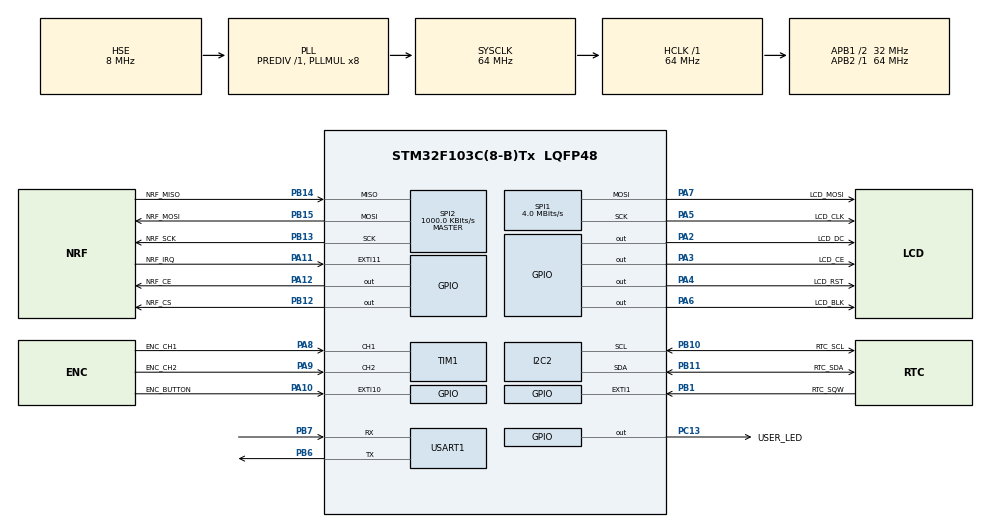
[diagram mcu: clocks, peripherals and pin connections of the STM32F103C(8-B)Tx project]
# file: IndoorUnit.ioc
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Dma.I2C2_RX.1.Direction=DMA_PERIPH_TO_MEMORY
Dma.I2C2_RX.1.Instance=DMA1_Channel5
Dma.I2C2_RX.1.MemDataAlignment=DMA_MDATAALIGN_BYTE
Dma.I2C2_RX.1.MemInc=DMA_MINC_ENABLE
Dma.I2C2_RX.1.Mode=DMA_NORMAL
Dma.I2C2_RX.1.PeriphDataAlignment=DMA_PDATAALIGN_BYTE
Dma.I2C2_RX.1.PeriphInc=DMA_PINC_DISABLE
Dma.I2C2_RX.1.Priority=DMA_PRIORITY_LOW
Dma.I2C2_TX.2.Direction=DMA_MEMORY_TO_PERIPH
Dma.I2C2_TX.2.Instance=DMA1_Channel4
Dma.I2C2_TX.2.MemDataAlignment=DMA_MDATAALIGN_BYTE
Dma.I2C2_TX.2.MemInc=DMA_MINC_ENABLE
Dma.I2C2_TX.2.Mode=DMA_NORMAL
Dma.I2C2_TX.2.PeriphDataAlignment=DMA_PDATAALIGN_BYTE
Dma.I2C2_TX.2.PeriphInc=DMA_PINC_DISABLE
Dma.I2C2_TX.2.Priority=DMA_PRIORITY_LOW
Dma.Request0=SPI1_TX
Dma.Request1=I2C2_RX
Dma.Request2=I2C2_TX
Dma.SPI1_TX.0.Direction=DMA_MEMORY_TO_PERIPH
Dma.SPI1_TX.0.Instance=DMA1_Channel3
Dma.SPI1_TX.0.MemDataAlignment=DMA_MDATAALIGN_BYTE
Dma.SPI1_TX.0.MemInc=DMA_MINC_ENABLE
Dma.SPI1_TX.0.Mode=DMA_NORMAL
Dma.SPI1_TX.0.PeriphDataAlignment=DMA_PDATAALIGN_BYTE
Dma.SPI1_TX.0.PeriphInc=DMA_PINC_DISABLE
Dma.SPI1_TX.0.Priority=DMA_PRIORITY_LOW
I2C2.I2C_Mode=I2C_Fast
Mcu.Family=STM32F1
Mcu.Name=STM32F103C(8-B)Tx
Mcu.Package=LQFP48
NVIC.DMA1_Channel3_IRQn=true\:0\:0\:false\:false\:true\:false\:true\:true
NVIC.DMA1_Channel4_IRQn=true\:0\:0\:false\:false\:true\:false\:true\:true
NVIC.DMA1_Channel5_IRQn=true\:0\:0\:false\:false\:true\:false\:true\:true
NVIC.EXTI15_10_IRQn=true\:0\:0\:false\:false\:true\:true\:true\:true
NVIC.EXTI1_IRQn=true\:0\:0\:false\:false\:true\:true\:true\:true
NVIC.I2C2_ER_IRQn=true\:0\:0\:false\:false\:true\:true\:true\:true
NVIC.I2C2_EV_IRQn=true\:0\:0\:false\:false\:true\:true\:true\:true
NVIC.PriorityGroup=NVIC_PRIORITYGROUP_4
NVIC.SPI1_IRQn=true\:0\:0\:false\:false\:true\:true\:true\:true
NVIC.SPI2_IRQn=true\:0\:0\:false\:false\:true\:true\:true\:true
NVIC.TIM1_CC_IRQn=true\:0\:0\:false\:false\:true\:true\:true\:true
NVIC.USART1_IRQn=true\:0\:0\:false\:false\:true\:true\:true\:true
PA10.GPIO_Label=ENC_BUTTON
PA10.GPIO_ModeDefaultEXTI=GPIO_MODE_IT_FALLING
PA10.Signal=GPXTI10
PA11.GPIO_Label=NRF_IRQ
PA11.Signal=GPXTI11
PA12.GPIO_Label=NRF_CE
PA12.Signal=GPIO_Output
PA13.Mode=Serial_Wire
PA13.Signal=SYS_JTMS-SWDIO
PA14.Mode=Serial_Wire
PA14.Signal=SYS_JTCK-SWCLK
PA2.GPIO_Label=LCD_DC
PA2.Signal=GPIO_Output
PA3.GPIO_Label=LCD_CE
PA3.Signal=GPIO_Output
PA4.GPIO_Label=LCD_RST
PA4.Signal=GPIO_Output
PA5.GPIO_Label=LCD_CLK
PA5.Mode=TX_Only_Simplex_Unidirect_Master
PA5.Signal=SPI1_SCK
PA6.GPIO_Label=LCD_BLK
PA6.Signal=GPIO_Output
PA7.GPIO_Label=LCD_MOSI
PA7.Mode=TX_Only_Simplex_Unidirect_Master
PA7.Signal=SPI1_MOSI
PA8.GPIO_Label=ENC_CH1
PA8.Signal=S_TIM1_CH1
PA9.GPIO_Label=ENC_CH2
PA9.Signal=S_TIM1_CH2
PB1.GPIO_Label=RTC_SQW
PB1.GPIO_ModeDefaultEXTI=GPIO_MODE_IT_FALLING
PB1.GPIO_PuPd=GPIO_PULLUP
PB1.Signal=GPXTI1
PB10.GPIO_Label=RTC_SCL
PB10.Mode=I2C
PB10.Signal=I2C2_SCL
PB11.GPIO_Label=RTC_SDA
PB11.Mode=I2C
PB11.Signal=I2C2_SDA
PB12.GPIO_Label=NRF_CS
PB12.Signal=GPIO_Output
PB13.GPIO_Label=NRF_SCK
PB13.Mode=Full_Duplex_Master
PB13.Signal=SPI2_SCK
PB14.GPIO_Label=NRF_MISO
PB14.Mode=Full_Duplex_Master
PB14.Signal=SPI2_MISO
PB15.GPIO_Label=NRF_MOSI
PB15.Mode=Full_Duplex_Master
PB15.Signal=SPI2_MOSI
PB6.Mode=Asynchronous
PB6.Signal=USART1_TX
PB7.Mode=Asynchronous
PB7.Signal=USART1_RX
PC13-TAMPER-RTC.GPIO_Label=USER_LED
PC13-TAMPER-RTC.Signal=GPIO_Output
PD0-OSC_IN.Mode=HSE-External-Oscillator
PD0-OSC_IN.Signal=RCC_OSC_IN
PD1-OSC_OUT.Mode=HSE-External-Oscillator
PD1-OSC_OUT.Signal=RCC_OSC_OUT
ProjectManager.HeapSize=0x200
ProjectManager.StackSize=0x400
ProjectManager.TargetToolchain=CMake
RCC.AHBFreq_Value=64000000
RCC.APB1CLKDivider=RCC_HCLK_DIV2
RCC.APB1Freq_Value=32000000
RCC.APB1TimFreq_Value=64000000
RCC.APB2Freq_Value=64000000
RCC.APB2TimFreq_Value=64000000
RCC.HCLKFreq_Value=64000000
RCC.PLLMUL=RCC_PLL_MUL8
RCC.PLLSourceVirtual=RCC_PLLSOURCE_HSE
RCC.SYSCLKFreq_VALUE=64000000
RCC.SYSCLKSource=RCC_SYSCLKSOURCE_PLLCLK
RCC.USBFreq_Value=64000000
SH.S_TIM1_CH1.0=TIM1_CH1,Encoder_Interface
SH.S_TIM1_CH2.0=TIM1_CH2,Encoder_Interface
SPI1.BaudRatePrescaler=SPI_BAUDRATEPRESCALER_16
SPI1.CalculateBaudRate=4.0 MBits/s
SPI1.Direction=SPI_DIRECTION_2LINES
SPI1.Mode=SPI_MODE_MASTER
SPI1.VirtualType=VM_MASTER
SPI2.BaudRatePrescaler=SPI_BAUDRATEPRESCALER_32
SPI2.CalculateBaudRate=1000.0 KBits/s
SPI2.Direction=SPI_DIRECTION_2LINES
SPI2.Mode=SPI_MODE_MASTER
SPI2.VirtualType=VM_MASTER
TIM1.AutoReloadPreload=TIM_AUTORELOAD_PRELOAD_ENABLE
TIM1.IC1Filter=15
TIM1.IC2Filter=15
USART1.VirtualMode=VM_ASYNC
VP_WWDG_VS_WWDG.Mode=WWDG_Activate
board=custom

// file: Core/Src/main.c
/* USER CODE BEGIN Header */
/**
  ******************************************************************************
  * @file           : main.c
  * @brief          : Main program body
  ******************************************************************************
  * @attention
  *
  * Copyright (c) 2026 STMicroelectronics.
  * All rights reserved.
  *
  * This software is licensed under terms that can be found in the LICENSE file
  * in the root directory of this software component.
  * If no LICENSE file comes with this software, it is provided AS-IS.
  *
  ******************************************************************************
  */
/* USER CODE END Header */
#include "main.h"
#include "dma.h"
#include "i2c.h"
#include "spi.h"
#include "tim.h"
#include "usart.h"
#include "wwdg.h"
#include "gpio.h"

/* USER CODE BEGIN Includes */
#include <PCD_LCD/PCD8544.h>
#include <PCD_LCD/PCD8544_fonts.h>
#include <PCD_LCD/PCD8544_Menu.h>
#include <PCD_LCD/PCD8544_Menu_config.h>
#include <PCD_LCD/PCD8544_Drawing.h>

#include <complex.h>
#include <stdbool.h>
#include <stdint.h>
#include <stdio.h>
#include <string.h>
#include <sys/_types.h>

#include "weather_station_config.h"
#include "debug_log.h"
#include "uart_cmd.h"
/* USER CODE END Includes */

void SystemClock_Config(void);
/* USER CODE BEGIN PFP */

void EncoderButtonPress(void);
static void NRF_DelayUs(uint32_t us);
void RTC_alarm1(void);
void RTC_alarm2(void);
static bool RTC_IsManualSetRequestedAtBoot(void);
void Menu_EscapeWraper (void);

/* USER CODE END PFP */

int main(void)
{

  /* MCU Configuration--------------------------------------------------------*/

  /* Reset of all peripherals, Initializes the Flash interface and the Systick. */

  HAL_Init();

  /* Configure the system clock */
  SystemClock_Config();

  /* Initialize all configured peripherals */
  MX_GPIO_Init();
  MX_DMA_Init();
  MX_SPI1_Init();
  MX_I2C2_Init();
  MX_TIM1_Init();
  MX_SPI2_Init();
  MX_USART1_UART_Init();
  /* USER CODE BEGIN 2 */
  bool rtcManualSetRequested = RTC_IsManualSetRequestedAtBoot();

  /*            Initialize encoder        */
  Encoder_Init(&encoder, &htim1, TIM_CHANNEL_1, TIM_CHANNEL_2);

  /*             Initialize debounce button        */
  ButtonInitKey(&encoderSW, ENC_BUTTON_GPIO_Port, ENC_BUTTON_Pin, 50, 1000, 500, BUTTON_MODE_INTERRUPT);
  ButtonRegisterPressCallback(&encoderSW, EncoderButtonPress);

  /*            Initialize LCD           */
  if(PCD8544_Init(&LCD, &hspi1, LCD_DC_GPIO_Port, LCD_DC_Pin, LCD_CE_GPIO_Port, LCD_CE_Pin, LCD_RST_GPIO_Port, LCD_RST_Pin, LCD_BLK_GPIO_Port, LCD_BLK_Pin) != PCD_OK) {
    Error_Handler();
  }
  else {
  {
    PCD8544_ClearScreen(&LCD);
  }
  }

  /*            Initialize RTC        */
  if (DS3231_Init(&rtc, &hi2c2, RTC_SQW_GPIO_Port, RTC_SQW_Pin, DS3231_I2C_ADDR, DS3231_FORMAT_24H) != DS3231_OK) {
    Error_Handler();
  }

  if (DS3231_GetOscillatorStopFlag(&rtc) != DS3231_OK) {
    Error_Handler();
  }

  if (rtcManualSetRequested || rtc.oscilator_stopped)
  {
    /* Set time once on manual request or after oscillator stop (OSF=1). */
    if (DS3231_SetDateTime(&rtc, &currentDateTime) != DS3231_OK) {
      Error_Handler();
    }

    if (DS3231_ClearOscillatorStopFlag(&rtc) != DS3231_OK) {
      Error_Handler();
    }

    rtcNow = currentDateTime;
  } else {
    if (DS3231_GetDateTime(&rtc, &rtcNow) != DS3231_OK) {
      Error_Handler();
    }
  }

  DS3231_SetAlarm1(&rtc, &RTCalarm1);
  DS3231_SetAlarm2(&rtc, &RTCalarm2);
  DS3231_EnableAlarm1Interrupt(&rtc);
  DS3231_EnableAlarm2Interrupt(&rtc);

  /* Initialize menu system with predefined configuration */
  Menu_Init(&StronaDomyslna, &menuContext);
  // Set font for menu display
  PCD8544_SetFont(&LCD, &Font_6x8);
  // Display initial menu and then show default measurement screen
  Menu_RefreshDisplay(&LCD, &menuContext);

  /* Initialize charts */
  WS_UI_InitCharts();

  /* ---------------------------------------------------------------
   * NRF24L01 Weather Station Initialization
   * --------------------------------------------------------------- */

  /* 1. Initialize nRF24L01 driver handle. */
  if (NRF24_Init(&nrf, &hspi2, NRF_CS_GPIO_Port, NRF_CS_Pin, NRF_CE_GPIO_Port, NRF_CE_Pin, NRF_IRQ_GPIO_Port, NRF_IRQ_Pin, NRF_DelayUs) != HAL_OK)
  {
    PCD8544_SetFont(&LCD, &Font_6x8);
    PCD8544_SetCursor(&LCD, 0, 0);
    PCD8544_WriteString(&LCD, "NRF FAIL");
    PCD8544_UpdateScreen(&LCD);
    Error_Handler();
  }

  if (NRF24_IsPresent(&nrf) != HAL_OK)
  {
    PCD8544_SetFont(&LCD, &Font_6x8);
    PCD8544_SetCursor(&LCD, 0, 0);
    PCD8544_WriteString(&LCD, "NRF MISS");
    PCD8544_UpdateScreen(&LCD);
    Error_Handler();
  }

  WS_InitManager(&wsCtx, WS_NODE_TX_ADDRS, WS_NODE_RX_ADDRS, WS_NODE_COUNT);

  /*  Initialize Weather Station Runtime struct   */
  wsRuntime.nrf = &nrf;
  wsRuntime.lcd = &LCD;
  wsRuntime.rtc_now = &rtcNow;
  wsRuntime.text_buffer = g_nrf_message;
  wsRuntime.text_buffer_size = sizeof(g_nrf_message);
  wsRuntime.led_port = USER_LED_GPIO_Port;
  wsRuntime.led_pin = USER_LED_Pin;
  wsRuntime.channel = NRF_CHANNEL;
  wsRuntime.cmd_measure = CMD_MEASURE;
  wsRuntime.cmd_size = NRF_CMD_SIZE;
  wsRuntime.payload_size = NRF_PAYLOAD_SIZE;
  wsRuntime.tx_irq_timeout_ms = NRF_TX_IRQ_TIMEOUT_MS;
  wsRuntime.rx_timeout_ms = NRF_RX_TIMEOUT_MS;
  wsRuntime.comm_watchdog_timeout_ms = NRF_COMM_WATCHDOG_TIMEOUT_MS;
  wsRuntime.huart_pico = &huart1;
  wsRuntime.broadcast_addr = NRF_BROADCAST_ADDR;

  /*  If NRF24L01 initialization fails, display error on LCD , go to error handler*/
  if (WS_InitRadioAndStart(&wsCtx, &wsRuntime) != HAL_OK) {
    PCD8544_SetFont(&LCD, &Font_6x8);
    PCD8544_SetCursor(&LCD, 0, 0);
    PCD8544_WriteString(&LCD, "WS INIT ERR");
    PCD8544_UpdateScreen(&LCD);
    Error_Handler();
  }

  /* Initialize UI context for weather station display functions */
  WS_UI_Init(&WS_UI, &wsCtx, &wsRuntime, &LCD, &menuContext, &encoder, &rtcNow, g_nrf_message, sizeof(g_nrf_message), &rtc);

  /* Initialize debug logging system */
  Debug_Init();

  UartCmd_Init(&huart1, &wsCtx);

  /* Force initial measurement display render (show time + placeholders) */
  WS_UI.chart_data_dirty = 1U;

  /*  Initial measurement request */
  WS_RequestMeasurementCycle(&wsCtx);

  /* Start WWDG only after long boot-time initialization is complete. */
  MX_WWDG_Init();
  uint32_t wwdg_last_refresh_tick = HAL_GetTick();

  /* USER CODE END 2 */

  /* Infinite loop */
  while (1)
  {

    /* USER CODE BEGIN 3 */

    uint32_t now_tick = HAL_GetTick();

    /* Flush buffered UART reply first so ACK reaches Pico before NRF logs. */
    UartCmd_FlushReply();

    /*  Process with NRF24  */
    WS_ProcessEventHandler(&wsCtx, &wsRuntime, now_tick);

    /*    Process with RTC event     */
    DS3231_EventHandler(&rtc, &rtcNow, RTC_alarm1, RTC_alarm2);

    /*    Process with button event routine    */
    ButtonTask(&encoderSW);

    /* View state machine handles chart, status, measurement and menu views */
    WS_UI_ViewTask();

    /* Keep WWDG alive only while communication watchdog is healthy. */
    uint32_t wwdg_now_tick = HAL_GetTick();
    if ((wsCtx.comm_watchdog_tripped == 0U) && ((wwdg_now_tick - wwdg_last_refresh_tick) >= WWDG_REFRESH_PERIOD_MS))
    {
      HAL_WWDG_Refresh(&hwwdg);
      wwdg_last_refresh_tick = wwdg_now_tick;
    }

    /* Debug heartbeat - logs every minute to detect program hangs */
    #ifdef DEBUG_LOG_HEARTBEAT
        Debug_Heartbeat();
    #endif
  }
  /* USER CODE END 3 */
}

void SystemClock_Config(void)
{
  RCC_OscInitTypeDef RCC_OscInitStruct = {0};
  RCC_ClkInitTypeDef RCC_ClkInitStruct = {0};

  /** Initializes the RCC Oscillators according to the specified parameters
  * in the RCC_OscInitTypeDef structure.
  */
  RCC_OscInitStruct.OscillatorType = RCC_OSCILLATORTYPE_HSE;
  RCC_OscInitStruct.HSEState = RCC_HSE_ON;
  RCC_OscInitStruct.HSEPredivValue = RCC_HSE_PREDIV_DIV1;
  RCC_OscInitStruct.HSIState = RCC_HSI_ON;
  RCC_OscInitStruct.PLL.PLLState = RCC_PLL_ON;
  RCC_OscInitStruct.PLL.PLLSource = RCC_PLLSOURCE_HSE;
  RCC_OscInitStruct.PLL.PLLMUL = RCC_PLL_MUL8;
  if (HAL_RCC_OscConfig(&RCC_OscInitStruct) != HAL_OK)
  {
    Error_Handler();
  }

  /** Initializes the CPU, AHB and APB buses clocks
  */
  RCC_ClkInitStruct.ClockType = RCC_CLOCKTYPE_HCLK|RCC_CLOCKTYPE_SYSCLK
                              |RCC_CLOCKTYPE_PCLK1|RCC_CLOCKTYPE_PCLK2;
  RCC_ClkInitStruct.SYSCLKSource = RCC_SYSCLKSOURCE_PLLCLK;
  RCC_ClkInitStruct.AHBCLKDivider = RCC_SYSCLK_DIV1;
  RCC_ClkInitStruct.APB1CLKDivider = RCC_HCLK_DIV2;
  RCC_ClkInitStruct.APB2CLKDivider = RCC_HCLK_DIV1;

  if (HAL_RCC_ClockConfig(&RCC_ClkInitStruct, FLASH_LATENCY_2) != HAL_OK)
  {
    Error_Handler();
  }
}

/* USER CODE BEGIN 4 */

/*      Encoder timer handler     */
void HAL_TIM_IC_CaptureCallback(TIM_HandleTypeDef *htim){
  /*   Check if the interrupt is from TIM1*/
  if (htim->Instance == TIM1)
  {
    encoder.IRQ_Flag = IRQ_FLAG_SET;
  }
}

/*      Encoder button IRQ handler      */
void HAL_GPIO_EXTI_Callback(uint16_t GPIO_Pin)
{
  /*Encoder button IRQ handler*/
  ButtonIRQHandler(&encoderSW, GPIO_Pin);

  /* RTC SQW/INT pin IRQ handler */
  DS3231_IRQHandler(&rtc, GPIO_Pin);

  /* NRF24L01 IRQ pin (active low) */
  if (GPIO_Pin == NRF_IRQ_Pin)
  {
    WS_SetIrqFlag(&wsCtx);
  }
}

/*                PRIVATE FUNCTIONS                             */

/**
 * @brief Microsecond delay using DWT cycle counter.
 */
static void NRF_DelayUs(uint32_t us) {
  CoreDebug->DEMCR |= CoreDebug_DEMCR_TRCENA_Msk;
  DWT->CYCCNT = 0;
  DWT->CTRL |= DWT_CTRL_CYCCNTENA_Msk;

  uint32_t cycles = (SystemCoreClock / 1000000U) * us;
  uint32_t start = DWT->CYCCNT;
  while ((DWT->CYCCNT - start) < cycles);
}

/* RTC alarm function assign to callback */
void RTC_alarm1(void){
  WS_UI.chart_data_dirty = 1U;
#ifdef DEBUG_LOG_RTC1_EVENTS
  Debug_LogRtcAlarm1();
#endif
}

/* RTC alarm function assign to callback */
void RTC_alarm2(void){
  WS_RequestMeasurementCycle(&wsCtx);
#ifdef DEBUG_LOG_RTC2_EVENTS
  Debug_LogRtcAlarm2();
#endif
}

/*      Encoder button function to assign to callback     */
void EncoderButtonPress(void)
{
  encoder.ButtonIRQ_Flag = IRQ_FLAG_SET;
  Menu_SetEnterAction(&menuContext);
}

void Menu_EscapeWraper(void)
{
    Menu_Escape(&LCD, &menuContext);
};

/* Hold encoder button during boot to force one-time manual RTC update. */
static bool RTC_IsManualSetRequestedAtBoot(void){
  uint32_t startTick = HAL_GetTick();

  if (HAL_GPIO_ReadPin(ENC_BUTTON_GPIO_Port, ENC_BUTTON_Pin) != GPIO_PIN_RESET) {
    return false;
  }

  while ((HAL_GetTick() - startTick) < RTC_MANUAL_SET_HOLD_MS) {
    if (HAL_GPIO_ReadPin(ENC_BUTTON_GPIO_Port, ENC_BUTTON_Pin) != GPIO_PIN_RESET) {
      return false;
    }
  }

  return true;
}

/* USER CODE END 4 */

void Error_Handler(void)
{
  __disable_irq();
  while (1)
  {
  }
}
